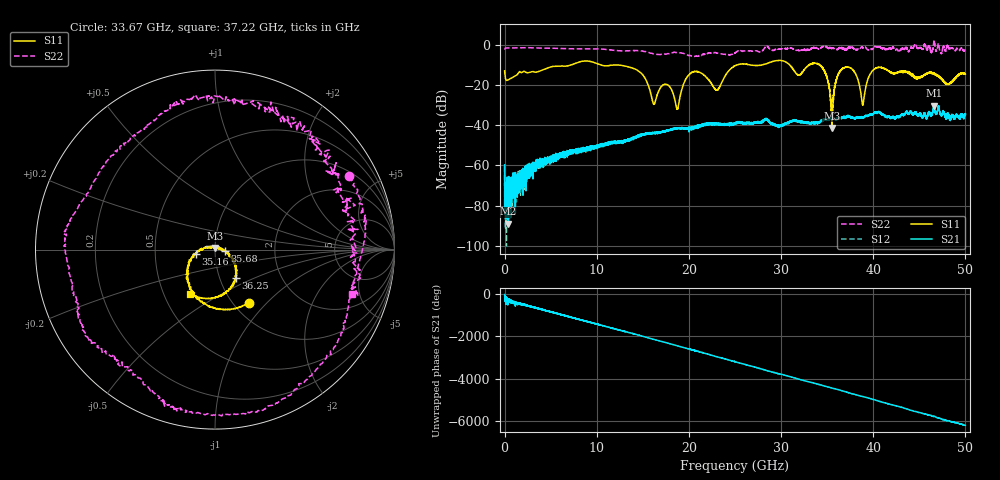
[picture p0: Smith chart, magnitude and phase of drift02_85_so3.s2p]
!Created with skrf (http://scikit-rf.org).
# Hz S RI R 50.0
!freq ReS11 ImS11 ReS21 ImS21 ReS12 ImS12 ReS22 ImS22
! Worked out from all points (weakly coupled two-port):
!   10001 points, 300 kHz to 50 GHz, reference 50 ohm
!   highest |S21| = -30.30 dB at 46.6 GHz (marker M1); lowest = -89.1 dB at 415.3 MHz (marker M2)
!   lowest |S11| = -41.3 dB at 35.51 GHz (marker M3), VSWR 1.02, Z = 49.9 + j0.85 ohm
!   |S11| at or under -10 dB: start of sweep to 7.18 GHz; 12.39 GHz to 25.17 GHz (12.79 GHz wide, 68.1 % of centre); 34.22 GHz to end of sweep (the widest 3 of 16)
!   |S22| runs from -5.7 to 2.3 dB; largest |S21 - S12| = 0.0035
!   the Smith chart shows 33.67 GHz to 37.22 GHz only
!   S11 on the Smith chart (normalised r, x): 33.67 GHz: 1.18, -0.80; 35.16 GHz: 0.80, -0.04; 35.68 GHz: 1.12, -0.02; 36.25 GHz: 1.19, -0.40; 37.22 GHz: 0.68, -0.36
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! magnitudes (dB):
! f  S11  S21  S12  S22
! 300 kHz  -12.9  -59.8  -60.6  -2.1
! 415.3 MHz  -17.3  -89.1  -67.7  -1.4
! 8.335 GHz  -8.2  -52.8  -52.7  -1.9
! 14.05 GHz  -11.8  -46.4  -46.1  -2.8
! 16.67 GHz  -23.4  -43.7  -43.8  -4.7
! 17.72 GHz  -20.0  -42.7  -42.8  -4.3
! 18.74 GHz  -32.0  -41.6  -41.5  -3.7
! 20.24 GHz  -13.9  -41.4  -41.4  -5.5
! 23.04 GHz  -22.6  -39.4  -39.5  -4.1
! 25 GHz  -10.4  -39.4  -39.4  -3.9
! 33.34 GHz  -9.3  -38.8  -38.8  -1.6
! 33.67 GHz  -9.1  -39.0  -38.8  -1.4
! 35.16 GHz  -19.2  -37.0  -37.1  -1.6
! 35.51 GHz  -41.3  -36.4  -36.8  -1.7
! 35.68 GHz  -25.0  -37.0  -36.8  -1.5
! 36.25 GHz  -14.1  -36.4  -36.5  -1.7
! 37.22 GHz  -11.0  -35.6  -35.2  -1.9
! 38.87 GHz  -29.8  -36.3  -35.9  -1.3
! 39.96 GHz  -12.6  -34.4  -34.4  -1.9
! 41.67 GHz  -12.9  -35.5  -35.6  -1.9
! 46.6 GHz  -14.4  -30.3  -30.1  1.9
! 50 GHz  -14.6  -34.4  -34.7  -2.7
